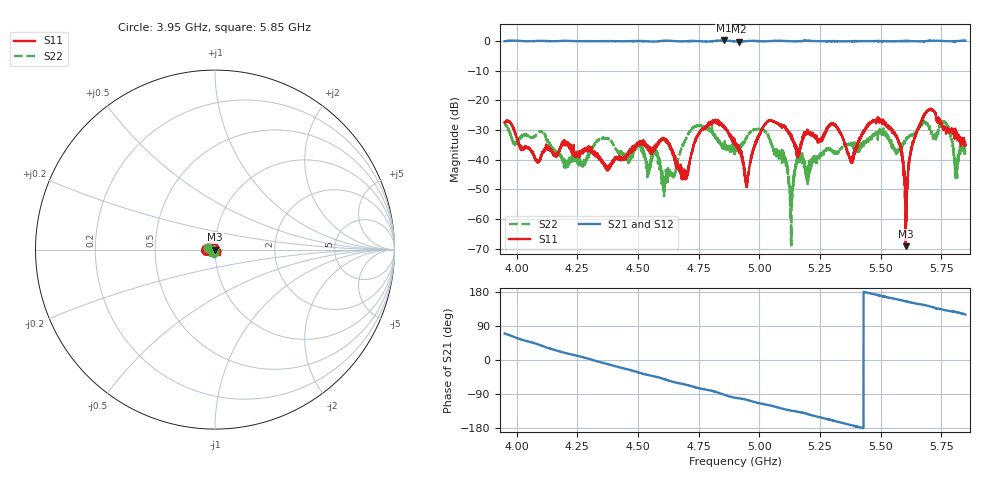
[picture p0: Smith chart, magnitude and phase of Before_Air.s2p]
# GHZ S RI R 50.000000000000
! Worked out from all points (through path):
!   4501 points, 3.95 GHz to 5.85 GHz, reference 50 ohm
!   highest |S21| = 0.25 dB at 4.853 GHz (marker M1); lowest = -0.2 dB at 4.917 GHz (marker M2)
!   group delay of S21, straight-line fit = 445 ps
!   lowest |S11| = -69.2 dB at 5.604 GHz (marker M3), VSWR 1.00, Z = 50 + j0.023 ohm
!   |S11| at or under -10 dB: start of sweep to end of sweep
!   |S22| runs from -68.9 to -26.8 dB; largest |S21 - S12| = 0.094
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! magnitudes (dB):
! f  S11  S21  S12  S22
! 3.95 GHz  -27.3  0.0  0.0  -27.7
! 4.085 GHz  -40.9  0.1  0.1  -31.2
! 4.267 GHz  -37.2  0.0  0.0  -41.9
! 4.584 GHz  -34.4  0.0  0.0  -40.0
! 4.61 GHz  -33.1  0.1  0.1  -48.5
! 4.694 GHz  -45.6  0.0  0.0  -33.5
! 4.756 GHz  -30.3  0.0  0.0  -28.4
! 4.853 GHz  -28.7  0.2  0.3  -34.5
! 4.9 GHz  -34.0  -0.1  0.0  -35.8
! 4.917 GHz  -36.6  -0.2  -0.1  -35.9
! 4.949 GHz  -48.2  0.0  0.0  -32.3
! 5.026 GHz  -27.8  0.0  0.0  -30.7
! 5.104 GHz  -28.9  0.1  0.1  -39.5
! 5.131 GHz  -32.0  0.0  0.0  -62.7
! 5.161 GHz  -38.4  0.0  0.0  -40.6
! 5.217 GHz  -31.5  0.1  0.1  -40.4
! 5.309 GHz  -28.2  0.0  0.0  -37.5
! 5.378 GHz  -41.0  0.0  0.0  -34.3
! 5.534 GHz  -28.8  0.0  0.1  -32.6
! 5.604 GHz  -69.2  0.1  0.0  -33.1
! 5.696 GHz  -23.1  0.1  0.1  -28.6
! 5.85 GHz  -35.0  0.2  0.3  -36.6
